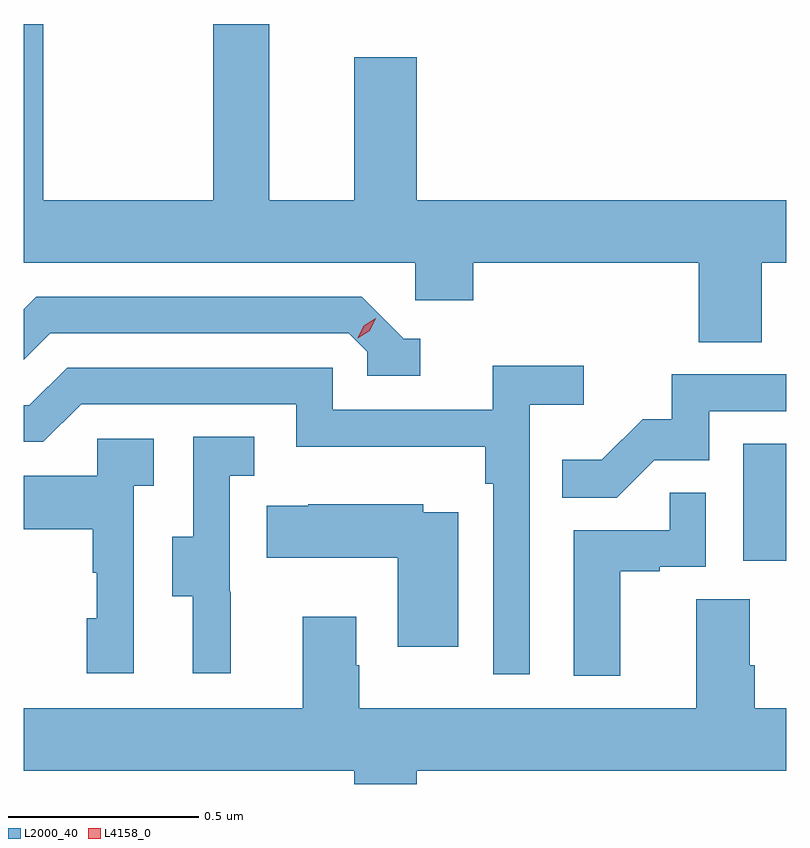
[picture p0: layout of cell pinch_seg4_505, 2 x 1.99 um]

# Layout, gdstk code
import gdstk
lib = gdstk.Library(unit=1e-6, precision=1e-09)
def R(c, l, rs):  # rectangles x0, y0, x1, y1
    for r in rs: c.add(gdstk.rectangle(r[:2], r[2:], *l))
def P(c, l, *ps):  # polygons
    for p in ps: c.add(gdstk.Polygon(p, *l))
L2000_40 = (2000, 40)
L4158_0 = (4158, 0)

pinch_seg4_505 = lib.new_cell('pinch_seg4_505')
R(pinch_seg4_505, L2000_40, [(957.236,766.734,957.349,767.041)])
P(pinch_seg4_505, L2000_40, [(957.284,767.516),(957.349,767.516),(957.349,767.68),(956.38,767.68),(956.38,768.055),(956.216,768.055),(956.216,767.68),(955.993,767.68),(955.993,768.142),(955.846,768.142),(955.846,767.68),(955.401,767.68),(955.401,768.142),(955.349,768.142),(955.349,767.516),(956.376,767.516),(956.376,767.418),(956.528,767.418),(956.528,767.516),(957.119,767.516),(957.119,767.308),(957.284,767.308)],
  [(956.389,767.316),(956.346,767.316),(956.235,767.427),(955.382,767.427),(955.349,767.394),(955.349,767.261),(955.419,767.331),(956.202,767.331),(956.25,767.283),(956.25,767.22),(956.389,767.22)],
  [(956.676,767.144),(956.818,767.144),(956.818,767.246),(956.579,767.246),(956.579,767.13),(956.16,767.13),(956.16,767.241),(955.463,767.241),(955.364,767.142),(955.349,767.142),(955.349,767.046),(955.401,767.046),(955.5,767.145),(956.064,767.145),(956.064,767.033),(956.56,767.033),(956.56,766.937),(956.58,766.937),(956.58,766.437),(956.676,766.437)],
  [(957.002,766.998),(957.147,766.998),(957.147,767.127),(957.349,767.127),(957.349,767.223),(957.049,767.223),(957.049,767.106),(956.972,767.106),(956.865,766.999),(956.761,766.999),(956.761,766.9),(956.904,766.9)],
  [(955.892,766.653),(955.89,766.653),(955.89,766.957),(955.954,766.957),(955.954,767.06),(955.794,767.06),(955.794,766.797),(955.739,766.797),(955.739,766.642),(955.793,766.642),(955.793,766.44),(955.892,766.44)],
  [(955.638,766.931),(955.69,766.931),(955.69,767.055),(955.542,767.055),(955.542,766.957),(955.349,766.957),(955.349,766.817),(955.53,766.817),(955.53,766.703),(955.54,766.703),(955.54,766.584),(955.514,766.584),(955.514,766.44),(955.638,766.44)],
  [(956.914,766.707),(957.017,766.707),(957.017,766.719),(957.138,766.719),(957.138,766.913),(957.043,766.913),(957.043,766.815),(956.792,766.815),(956.792,766.433),(956.914,766.433)],
  [(956.488,766.861),(956.397,766.861),(956.397,766.882),(956.095,766.882),(956.095,766.879),(955.987,766.879),(955.987,766.742),(956.33,766.742),(956.33,766.509),(956.488,766.509)],
  [(956.38,766.184),(957.349,766.184),(957.349,766.348),(957.266,766.348),(957.266,766.46),(957.253,766.46),(957.253,766.634),(957.113,766.634),(957.113,766.348),(956.229,766.348),(956.229,766.46),(956.221,766.46),(956.221,766.588),(956.081,766.588),(956.081,766.348),(955.349,766.348),(955.349,766.184),(956.216,766.184),(956.216,766.149),(956.38,766.149)])
P(pinch_seg4_505, L4158_0, [(956.225,767.318),(956.225,767.319),(956.241,767.351),(956.272,767.37),(956.272,767.37),(956.272,767.369),(956.256,767.337),(956.225,767.318)])

lib.write_gds('pinch_seg4_505.gds')
